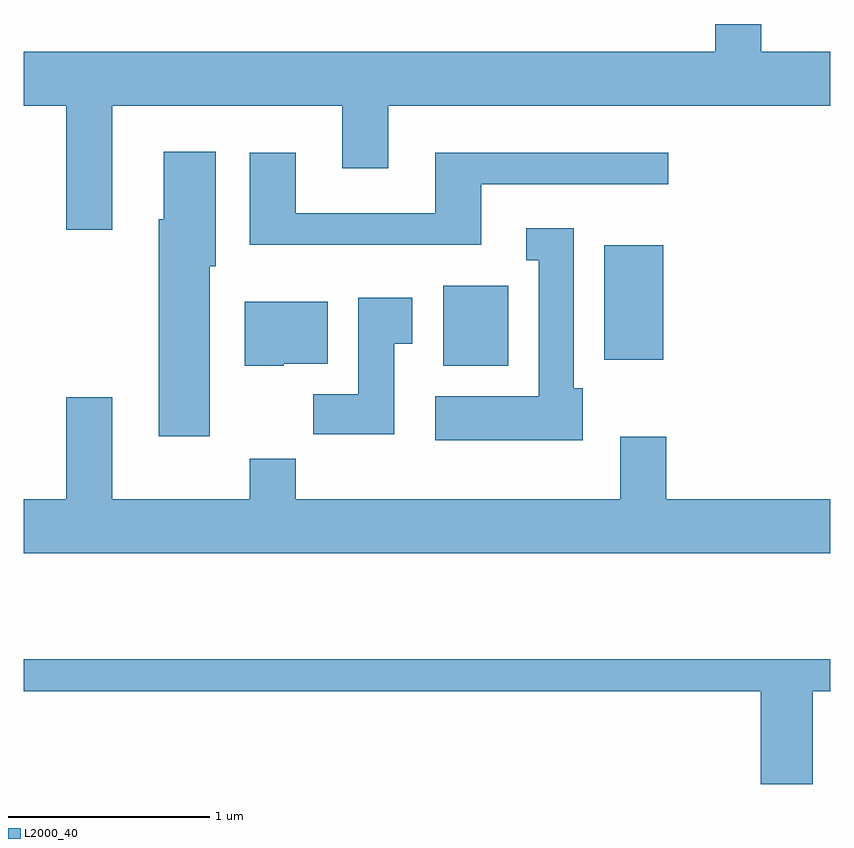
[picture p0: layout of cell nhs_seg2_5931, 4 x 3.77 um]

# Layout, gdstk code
import gdstk
lib = gdstk.Library(unit=1e-6, precision=1e-09)
def R(c, l, rs):  # rectangles x0, y0, x1, y1
    for r in rs: c.add(gdstk.rectangle(r[:2], r[2:], *l))
def P(c, l, *ps):  # polygons
    for p in ps: c.add(gdstk.Polygon(p, *l))
L2000_40 = (2000, 40)

nhs_seg2_5931 = lib.new_cell('nhs_seg2_5931')
R(nhs_seg2_5931, L2000_40, [(361.691,1078.106,362.014,1078.504), (362.491,1078.136,362.784,1078.704)])
P(nhs_seg2_5931, L2000_40, [(360.049,1079.396),(361.191,1079.396),(361.191,1079.086),(361.419,1079.086),(361.419,1079.396),(363.611,1079.396),(363.611,1079.664),(363.269,1079.664),(363.269,1079.802),(363.041,1079.802),(363.041,1079.664),(359.611,1079.664),(359.611,1079.396),(359.821,1079.396),(359.821,1078.781),(360.049,1078.781)],
  [(360.534,1078.601),(360.564,1078.601),(360.564,1079.169),(360.306,1079.169),(360.306,1078.834),(360.281,1078.834),(360.281,1077.756),(360.534,1077.756)],
  [(361.879,1079.006),(362.808,1079.006),(362.808,1079.164),(361.651,1079.164),(361.651,1078.864),(360.959,1078.864),(360.959,1079.164),(360.731,1079.164),(360.731,1078.706),(361.879,1078.706)],
  [(362.384,1077.994),(362.339,1077.994),(362.339,1078.789),(362.103,1078.789),(362.103,1078.631),(362.166,1078.631),(362.166,1077.954),(361.651,1077.954),(361.651,1077.736),(362.384,1077.736)],
  [(361.449,1078.216),(361.539,1078.216),(361.539,1078.444),(361.271,1078.444),(361.271,1077.964),(361.046,1077.964),(361.046,1077.766),(361.449,1077.766)],
  [(360.9,1078.116),(361.119,1078.116),(361.119,1078.424),(360.706,1078.424),(360.706,1078.106),(360.9,1078.106)],
  [(363.611,1077.444),(362.799,1077.444),(362.799,1077.754),(362.571,1077.754),(362.571,1077.444),(360.959,1077.444),(360.959,1077.644),(360.731,1077.644),(360.731,1077.444),(360.049,1077.444),(360.049,1077.949),(359.821,1077.949),(359.821,1077.444),(359.611,1077.444),(359.611,1077.176),(363.611,1077.176)],
  [(363.524,1076.491),(363.611,1076.491),(363.611,1076.649),(359.611,1076.649),(359.611,1076.491),(363.266,1076.491),(363.266,1076.031),(363.524,1076.031)])

lib.write_gds('nhs_seg2_5931.gds')
